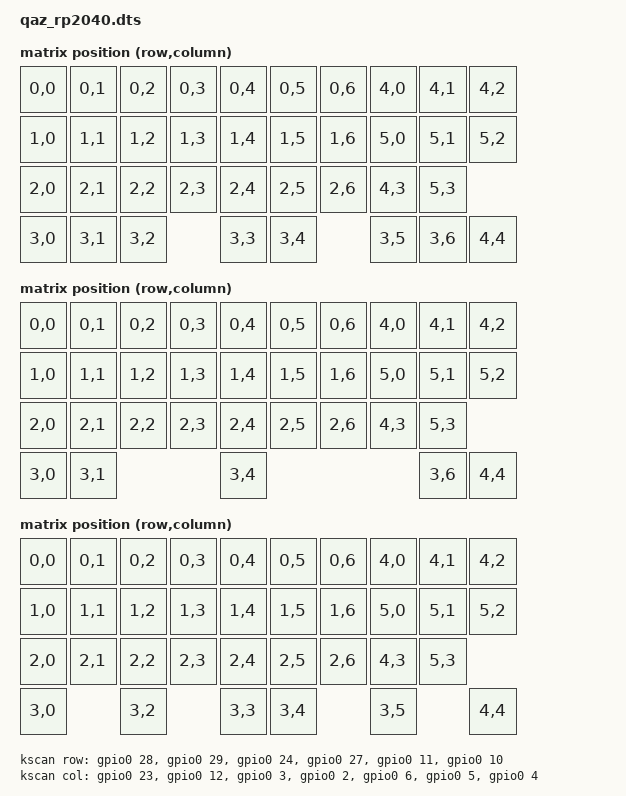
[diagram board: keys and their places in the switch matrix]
/*
 * Copyright (c) 2021 Yonatan Schachter
 * Copyright (c) 2024 The ZMK Contributors
 *
 * SPDX-License-Identifier: Apache-2.0
 */

/dts-v1/;

#include <arm/raspberrypi/rp2040-boot-mode-retention.dtsi>
#include <raspberrypi/rpi_pico/rp2040.dtsi>

#include <freq.h>
#include <dt-bindings/led/led.h>

#include <dt-bindings/zmk/matrix_transform.h>

#include "qaz_rp2040-pinctrl.dtsi"
#include "qaz_rp2040-layouts.dtsi"

/ {
	chosen {
		zephyr,sram = &sram0;
		zephyr,flash = &flash0;
		zephyr,flash-controller = &ssi;
		zephyr,code-partition = &code_partition;

		zmk,kscan = &kscan;
		zmk,physical-layout = &split_bar_layout;
		zmk,underglow = &led_strip;
	};

	aliases {
		watchdog0 = &wdt0;
	};

    kscan: kscan {
        compatible = "zmk,kscan-gpio-matrix";
        diode-direction = "col2row";

        col-gpios
            = <&gpio0 23 GPIO_ACTIVE_HIGH>
            , <&gpio0 12 GPIO_ACTIVE_HIGH>
            , <&gpio0  3 GPIO_ACTIVE_HIGH>
            , <&gpio0  2 GPIO_ACTIVE_HIGH>
            , <&gpio0  6 GPIO_ACTIVE_HIGH>
            , <&gpio0  5 GPIO_ACTIVE_HIGH>
            , <&gpio0  4 GPIO_ACTIVE_HIGH>
            ;

        row-gpios
            = <&gpio0 28 (GPIO_ACTIVE_HIGH | GPIO_PULL_DOWN)>
            , <&gpio0 29 (GPIO_ACTIVE_HIGH | GPIO_PULL_DOWN)>
            , <&gpio0 24 (GPIO_ACTIVE_HIGH | GPIO_PULL_DOWN)>
            , <&gpio0 27 (GPIO_ACTIVE_HIGH | GPIO_PULL_DOWN)>
            , <&gpio0 11 (GPIO_ACTIVE_HIGH | GPIO_PULL_DOWN)>
            , <&gpio0 10 (GPIO_ACTIVE_HIGH | GPIO_PULL_DOWN)>
            ;
    };

    split_bar_transform: split_bar_transform {
        compatible = "zmk,matrix-transform";
        columns = <7>;
        rows = <6>;
        map = <
    RC(0,0) RC(0,1) RC(0,2) RC(0,3) RC(0,4) RC(0,5) RC(0,6) RC(4,0) RC(4,1) RC(4,2)
    RC(1,0) RC(1,1) RC(1,2) RC(1,3) RC(1,4) RC(1,5) RC(1,6) RC(5,0) RC(5,1) RC(5,2)
    RC(2,0) RC(2,1) RC(2,2) RC(2,3) RC(2,4) RC(2,5) RC(2,6) RC(4,3) RC(5,3)
    RC(3,0) RC(3,1) RC(3,2)         RC(3,3) RC(3,4)         RC(3,5) RC(3,6) RC(4,4)
        >;
    };

    big_bar_transform: big_bar_transform {
        compatible = "zmk,matrix-transform";
        columns = <7>;
        rows = <6>;
        map = <
    RC(0,0) RC(0,1) RC(0,2) RC(0,3) RC(0,4) RC(0,5) RC(0,6) RC(4,0) RC(4,1) RC(4,2)
    RC(1,0) RC(1,1) RC(1,2) RC(1,3) RC(1,4) RC(1,5) RC(1,6) RC(5,0) RC(5,1) RC(5,2)
    RC(2,0) RC(2,1) RC(2,2) RC(2,3) RC(2,4) RC(2,5) RC(2,6) RC(4,3) RC(5,3)
    RC(3,0) RC(3,1)                 RC(3,4)                         RC(3,6) RC(4,4)
        >;
    };

    /omit-if-no-ref/ wkl_split_bar_transform: wkl_split_bar_transform {
        compatible = "zmk,matrix-transform";
        columns = <7>;
        rows = <6>;
        map = <
    RC(0,0) RC(0,1) RC(0,2) RC(0,3) RC(0,4) RC(0,5) RC(0,6) RC(4,0) RC(4,1) RC(4,2)
    RC(1,0) RC(1,1) RC(1,2) RC(1,3) RC(1,4) RC(1,5) RC(1,6) RC(5,0) RC(5,1) RC(5,2)
    RC(2,0) RC(2,1) RC(2,2) RC(2,3) RC(2,4) RC(2,5) RC(2,6) RC(4,3) RC(5,3)
    RC(3,0)         RC(3,2)         RC(3,3) RC(3,4)         RC(3,5)         RC(4,4)
        >;
    };

    /omit-if-no-ref/ wkl_big_bar_transform: wkl_big_bar_transform {
        compatible = "zmk,matrix-transform";
        columns = <7>;
        rows = <6>;
        map = <
    RC(0,0) RC(0,1) RC(0,2) RC(0,3) RC(0,4) RC(0,5) RC(0,6) RC(4,0) RC(4,1) RC(4,2)
    RC(1,0) RC(1,1) RC(1,2) RC(1,3) RC(1,4) RC(1,5) RC(1,6) RC(5,0) RC(5,1) RC(5,2)
    RC(2,0) RC(2,1) RC(2,2) RC(2,3) RC(2,4) RC(2,5) RC(2,6) RC(4,3) RC(5,3)
    RC(3,0)                                 RC(3,4)                         RC(4,4)
        >;
    };

    /omit-if-no-ref/ hhkb_split_bar_transform: hhkb_split_bar_transform {
        compatible = "zmk,matrix-transform";
        columns = <7>;
        rows = <6>;
        map = <
    RC(0,0) RC(0,1) RC(0,2) RC(0,3) RC(0,4) RC(0,5) RC(0,6) RC(4,0) RC(4,1) RC(4,2)
    RC(1,0) RC(1,1) RC(1,2) RC(1,3) RC(1,4) RC(1,5) RC(1,6) RC(5,0) RC(5,1) RC(5,2)
    RC(2,0) RC(2,1) RC(2,2) RC(2,3) RC(2,4) RC(2,5) RC(2,6) RC(4,3) RC(5,3)
            RC(3,1) RC(3,2)         RC(3,3) RC(3,4)         RC(3,5) RC(3,6)
        >;
    };

    /omit-if-no-ref/ hhkb_big_bar_transform: hhkb_big_bar_transform {
        compatible = "zmk,matrix-transform";
        columns = <7>;
        rows = <6>;
        map = <
    RC(0,0) RC(0,1) RC(0,2) RC(0,3) RC(0,4) RC(0,5) RC(0,6) RC(4,0) RC(4,1) RC(4,2)
    RC(1,0) RC(1,1) RC(1,2) RC(1,3) RC(1,4) RC(1,5) RC(1,6) RC(5,0) RC(5,1) RC(5,2)
    RC(2,0) RC(2,1) RC(2,2) RC(2,3) RC(2,4) RC(2,5) RC(2,6) RC(4,3) RC(5,3)
            RC(3,1)                         RC(3,4)                 RC(3,6)
        >;
    };

};

&flash0 {
	/* 16MB of flash minus the 0x100 used for
	 * the second stage bootloader
	 */
	reg = <0x10000000 DT_SIZE_M(16)>;

	partitions {
		compatible = "fixed-partitions";
		#address-cells = <1>;
		#size-cells = <1>;

		/* Reserved memory for the second stage bootloader */
		second_stage_bootloader: partition@0 {
			label = "second_stage_bootloader";
			reg = <0x00000000 0x100>;
			read-only;
		};

		/*
		 * Usable flash. Starts at 0x100, after the bootloader.
		 * 16MB minus the 0x100 bytes taken by the bootloader
		 * and 0xffff for storage (smallest block size)
		 */
		code_partition: partition@100 {
			label = "code-partition";
            reg = <0x100 (DT_SIZE_M(16) - DT_SIZE_K(12) - 0x100)>;
			read-only;
		};

        storage_partition: partition@ff0000 {
            reg = <(DT_SIZE_M(16) - DT_SIZE_K(64)) DT_SIZE_K(64)>;
        };
	};
};

&gpio0 {
	status = "okay";
};

&timer {
	status = "okay";
};

&wdt0 {
	status = "okay";
};

zephyr_udc0: &usbd {
	status = "okay";
};

&vreg {
	regulator-always-on;
	regulator-allowed-modes = <REGULATOR_RPI_PICO_MODE_NORMAL>;
};

/*
 * Since RGB is the only add-on that ships with this PCB, pinctrl
 * setup has been minimized.
 *
 * If you intend to use the breakouts (14, 15, 18, 19, 20, 21, 25, 26)
 * (note that 26 is mislabeled as 38 on at least some PCBs)
 * you might want to crib from rpi_pico in upstream Zephyr.
 *
 * While you're here, the TC2030 pinout:
 * 1 - IOVDD
 * 2 - SWDIO
 * 3 - RUN
 * 4 - SWCLK
 * 5 - GND
 * 6 - NC
 */

&pio0 {
    status = "okay";

    pio0_spi0: pio0_spi0 {
        pinctrl-0 = <&pio0_spi0_default>;
        pinctrl-names = "default";

        compatible = "raspberrypi,pico-spi-pio";
        #address-cells = <1>;
        #size-cells = <0>;
        clocks = <&system_clk>;
        clock-frequency = <DT_FREQ_M(8)>;

        clk-gpios  = <&gpio0 14 GPIO_ACTIVE_HIGH>;
        miso-gpios = <&gpio0 9 GPIO_ACTIVE_HIGH>;
        mosi-gpios = <&gpio0 9 GPIO_ACTIVE_HIGH>;

        led_strip: ws2812@0 {
           compatible = "worldsemi,ws2812-spi"; /* TODO: switch to worldsemi,ws2812-rpi_pico-pio after Zephyr 3.6+ */

            /* SPI */
            reg = <0>;
            spi-max-frequency = <DT_FREQ_M(8)>;

            /* WS2812 */
            chain-length = <8>;
            spi-one-frame = <0x70>;
            spi-zero-frame = <0x40>;

            color-mapping = <
                LED_COLOR_ID_GREEN
                LED_COLOR_ID_RED
                LED_COLOR_ID_BLUE
            >;
        };
    };
};
